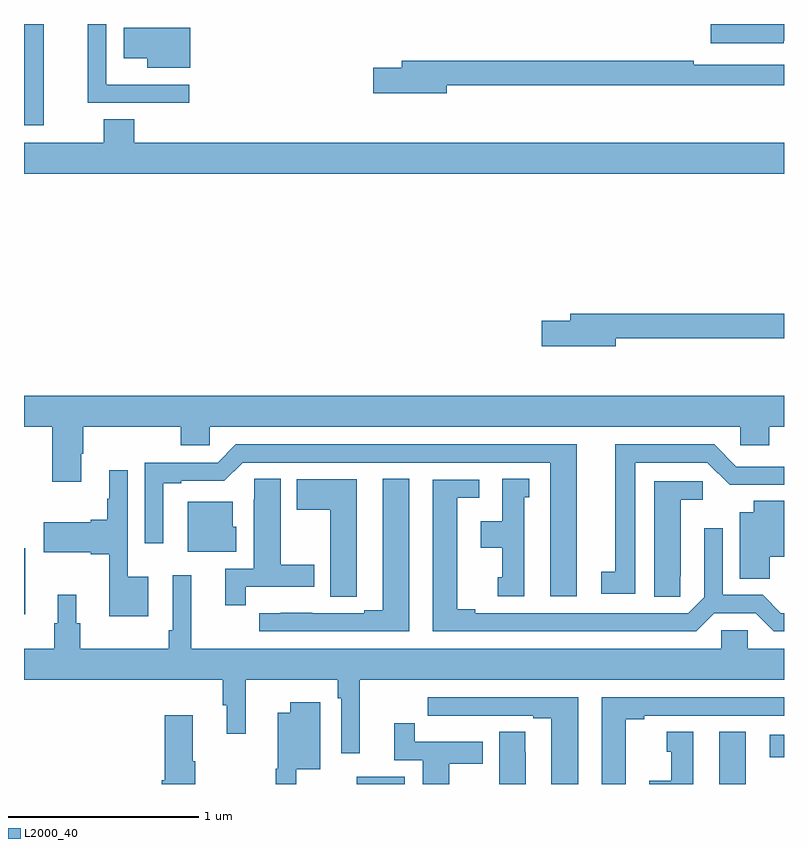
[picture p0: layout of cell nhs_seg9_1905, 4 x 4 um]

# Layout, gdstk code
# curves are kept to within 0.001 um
import gdstk
lib = gdstk.Library(unit=1e-6, precision=1e-09)
def R(c, l, rs):  # rectangles x0, y0, x1, y1
    for r in rs: c.add(gdstk.rectangle(r[:2], r[2:], *l))
def P(c, l, *ps):  # polygons
    for p in ps: c.add(gdstk.Polygon(p, *l))
L2000_40 = (2000, 40)

nhs_seg9_1905 = lib.new_cell('nhs_seg9_1905')
R(nhs_seg9_1905, L2000_40, [(218.75,1234.5,219.004,1234.537), (220.658,1234.5,220.798,1234.774), (220.926,1234.642,221,1234.758), (217,1235.394,217.006,1235.742), (217,1237.968,217.105,1238.5)])
P(nhs_seg9_1905, L2000_40, [(217.87,1238.181),(217.436,1238.181),(217.436,1238.182),(217.434,1238.182),(217.434,1238.5),(217.336,1238.5),(217.336,1238.085),(217.87,1238.085)],
  [(220.998,1238.412),(221,1238.412),(221,1238.5),(220.614,1238.5),(220.614,1238.399),(220.998,1238.399)],
  [(217.876,1238.479),(217.524,1238.479),(217.524,1238.321),(217.649,1238.321),(217.649,1238.27),(217.876,1238.27)],
  [(219.226,1238.178),(221,1238.178),(221,1238.286),(220.526,1238.286),(220.526,1238.306),(218.987,1238.306),(218.987,1238.27),(218.838,1238.27),(218.838,1238.135),(219.226,1238.135)],
  [(221,1237.876),(217.58,1237.876),(217.58,1238),(217.42,1238),(217.42,1237.876),(217,1237.876),(217,1237.712),(221,1237.712)],
  [(220.114,1236.846),(221,1236.846),(221,1236.974),(219.875,1236.974),(219.875,1236.938),(219.726,1236.938),(219.726,1236.803),(220.114,1236.803)],
  [(217.3,1236.238),(217.313,1236.238),(217.313,1236.38),(217.826,1236.38),(217.826,1236.282),(217.977,1236.282),(217.977,1236.38),(220.77,1236.38),(220.77,1236.282),(220.922,1236.282),(220.922,1236.38),(221,1236.38),(221,1236.544),(217,1236.544),(217,1236.38),(217.148,1236.38),(217.148,1236.09),(217.3,1236.09)],
  [(219.91,1236.288),(218.115,1236.288),(218.019,1236.192),(217.635,1236.192),(217.635,1235.766),(217.732,1235.766),(217.732,1236.084),(217.828,1236.084),(217.828,1236.096),(218.055,1236.096),(218.151,1236.192),(219.77,1236.192),(219.77,1235.487),(219.91,1235.487)],
  [(220.216,1236.192),(220.596,1236.192),(220.714,1236.074),(221,1236.075),(221,1236.171),(220.749,1236.171),(220.632,1236.288),(220.112,1236.288),(220.112,1235.618),(220.038,1235.618),(220.038,1235.502),(220.216,1235.502)],
  [(217.654,1235.59),(217.545,1235.59),(217.545,1236.151),(217.448,1236.151),(217.448,1236.002),(217.437,1236.002),(217.437,1235.891),(217.352,1235.891),(217.352,1235.878),(217.104,1235.878),(217.104,1235.72),(217.352,1235.72),(217.352,1235.708),(217.448,1235.708),(217.448,1235.384),(217.654,1235.384)],
  [(219.028,1236.107),(218.888,1236.107),(218.888,1235.415),(218.792,1235.415),(218.792,1235.4),(218.516,1235.4),(218.516,1235.401),(218.35,1235.401),(218.35,1235.4),(218.238,1235.4),(218.238,1235.304),(219.028,1235.304)],
  [(218.168,1235.538),(218.527,1235.538),(218.527,1235.655),(218.35,1235.655),(218.35,1236.107),(218.211,1236.107),(218.211,1235.996),(218.21,1235.996),(218.21,1235.634),(218.06,1235.634),(218.06,1235.442),(218.168,1235.442)],
  [(219.634,1236.009),(219.658,1236.009),(219.658,1236.107),(219.518,1236.107),(219.518,1235.884),(219.404,1235.884),(219.404,1235.744),(219.518,1235.744),(219.518,1235.589),(219.494,1235.589),(219.494,1235.487),(219.634,1235.487)],
  [(218.751,1235.593),(218.752,1235.593),(218.752,1236.103),(218.435,1236.103),(218.435,1235.944),(218.612,1235.944),(218.612,1235.485),(218.751,1235.485)],
  [(220.633,1235.4),(220.851,1235.4),(220.947,1235.304),(221,1235.304),(221,1235.4),(220.983,1235.4),(220.887,1235.496),(220.677,1235.496),(220.677,1235.845),(220.581,1235.845),(220.581,1235.484),(220.497,1235.4),(219.376,1235.4),(219.376,1235.42),(219.28,1235.42),(219.28,1236.006),(219.397,1236.006),(219.397,1236.102),(219.152,1236.102),(219.152,1235.304),(220.537,1235.304)],
  [(220.455,1235.593),(220.456,1235.593),(220.456,1235.996),(220.573,1235.996),(220.573,1236.093),(220.316,1236.093),(220.316,1235.485),(220.455,1235.485)],
  [(220.924,1235.696),(221,1235.696),(221,1235.99),(220.841,1235.99),(220.841,1235.929),(220.766,1235.929),(220.766,1235.581),(220.924,1235.581)],
  [(218.116,1235.853),(218.098,1235.853),(218.098,1235.986),(217.862,1235.986),(217.862,1235.723),(218.116,1235.723)],
  [(218.768,1235.048),(221,1235.048),(221,1235.212),(220.809,1235.212),(220.809,1235.31),(220.671,1235.31),(220.671,1235.212),(217.88,1235.212),(217.88,1235.599),(217.782,1235.599),(217.782,1235.308),(217.762,1235.308),(217.762,1235.212),(217.295,1235.212),(217.295,1235.346),(217.276,1235.346),(217.276,1235.497),(217.178,1235.497),(217.178,1235.346),(217.159,1235.346),(217.159,1235.212),(217,1235.212),(217,1235.048),(218.047,1235.048),(218.047,1234.914),(218.066,1234.914),(218.066,1234.764),(218.166,1234.764),(218.166,1235.048),(218.65,1235.048),(218.65,1234.952),(218.67,1234.952),(218.67,1234.662),(218.768,1234.662)],
  [(219.916,1234.956),(219.126,1234.956),(219.126,1234.86),(219.238,1234.86),(219.238,1234.859),(219.404,1234.859),(219.404,1234.86),(219.68,1234.86),(219.68,1234.845),(219.776,1234.845),(219.776,1234.5),(219.916,1234.5)],
  [(220.168,1234.84),(220.264,1234.84),(220.264,1234.86),(221,1234.86),(221,1234.956),(220.04,1234.956),(220.04,1234.5),(220.168,1234.5)],
  [(218.433,1234.577),(218.56,1234.577),(218.56,1234.93),(218.402,1234.93),(218.402,1234.876),(218.336,1234.876),(218.336,1234.581),(218.325,1234.581),(218.325,1234.5),(218.433,1234.5)],
  [(217.902,1234.621),(217.888,1234.621),(217.888,1234.861),(217.742,1234.861),(217.742,1234.521),(217.724,1234.521),(217.724,1234.5),(217.902,1234.5)],
  [(219.238,1234.606),(219.415,1234.606),(219.415,1234.722),(219.056,1234.722),(219.056,1234.819),(218.948,1234.819),(218.948,1234.626),(219.098,1234.626),(219.098,1234.5),(219.238,1234.5)],
  [(219.64,1234.667),(219.639,1234.667),(219.639,1234.775),(219.5,1234.775),(219.5,1234.5),(219.64,1234.5)],
  [(220.522,1234.774),(220.382,1234.774),(220.382,1234.671),(220.406,1234.671),(220.406,1234.516),(220.292,1234.516),(220.292,1234.5),(220.522,1234.5)])

lib.write_gds('nhs_seg9_1905.gds')
